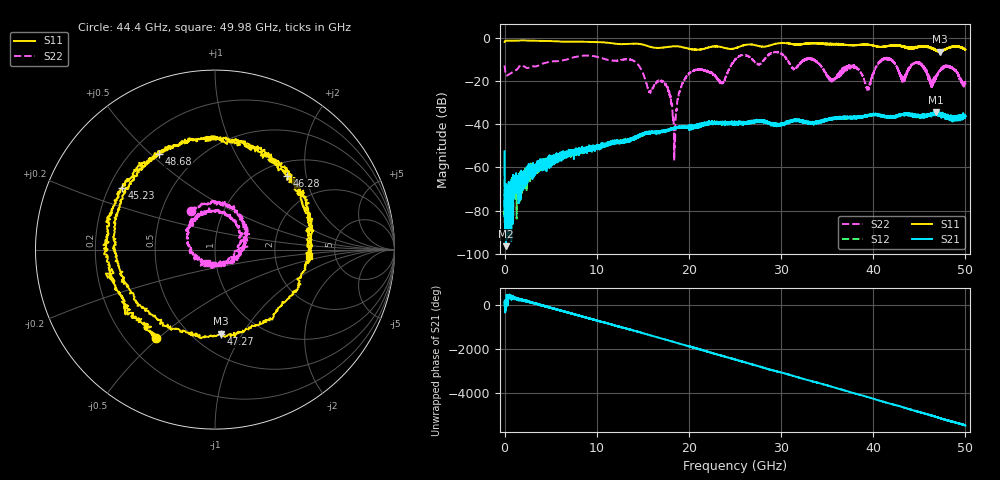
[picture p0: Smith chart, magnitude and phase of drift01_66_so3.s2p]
!Created with skrf (http://scikit-rf.org).
# Hz S RI R 50.0
!freq ReS11 ImS11 ReS21 ImS21 ReS12 ImS12 ReS22 ImS22
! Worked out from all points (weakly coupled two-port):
!   10001 points, 300 kHz to 50 GHz, reference 50 ohm
!   highest |S21| = -34.46 dB at 46.76 GHz (marker M1); lowest = -96.5 dB at 150.3 MHz (marker M2)
!   lowest |S11| = -6.6 dB at 47.28 GHz (marker M3), VSWR 2.77, Z = 33.6 - j40.4 ohm
!   |S11| at or under -10 dB: nowhere
!   |S22| runs from -57.0 to -6.6 dB; largest |S21 - S12| = 0.0037
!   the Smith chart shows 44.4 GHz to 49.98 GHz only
!   S11 on the Smith chart (normalised r, x): 44.4 GHz: 0.32, -0.49; 45.23 GHz: 0.25, +0.28; 46.28 GHz: 1.26, +1.55; 47.27 GHz: 0.67, -0.81; 48.68 GHz: 0.31, +0.53; 49.98 GHz: 3.19, -0.32
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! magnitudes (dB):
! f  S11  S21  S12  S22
! 300 kHz  -2.1  -52.6  -55.9  -12.9
! 150.3 MHz  -1.5  -96.5  -82.1  -17.3
! 8.335 GHz  -1.9  -51.8  -52.2  -8.5
! 16.67 GHz  -4.8  -44.1  -43.8  -19.9
! 17.74 GHz  -4.3  -43.2  -42.5  -24.3
! 18.45 GHz  -4.1  -41.8  -42.0  -45.0
! 19.95 GHz  -5.1  -41.7  -41.4  -17.0
! 23.63 GHz  -4.5  -39.6  -39.5  -20.9
! 25 GHz  -5.0  -39.5  -39.6  -10.2
! 33.34 GHz  -2.6  -39.5  -39.4  -9.9
! 39.44 GHz  -3.3  -36.3  -36.3  -23.9
! 41.67 GHz  -3.9  -36.8  -36.7  -10.2
! 43.24 GHz  -4.2  -35.7  -35.4  -19.4
! 44.4 GHz  -4.6  -35.9  -35.6  -12.0
! 45.23 GHz  -4.1  -36.5  -36.7  -12.5
! 46.28 GHz  -4.8  -35.7  -35.5  -20.6
! 46.76 GHz  -5.8  -34.5  -35.1  -18.3
! 47.27 GHz  -6.5  -35.4  -35.2  -14.9
! 47.28 GHz  -6.6  -35.6  -35.2  -15.0
! 48.68 GHz  -4.2  -37.4  -36.7  -14.2
! 49.98 GHz  -5.6  -36.0  -36.2  -21.3
! 50 GHz  -5.6  -36.3  -36.3  -22.2
